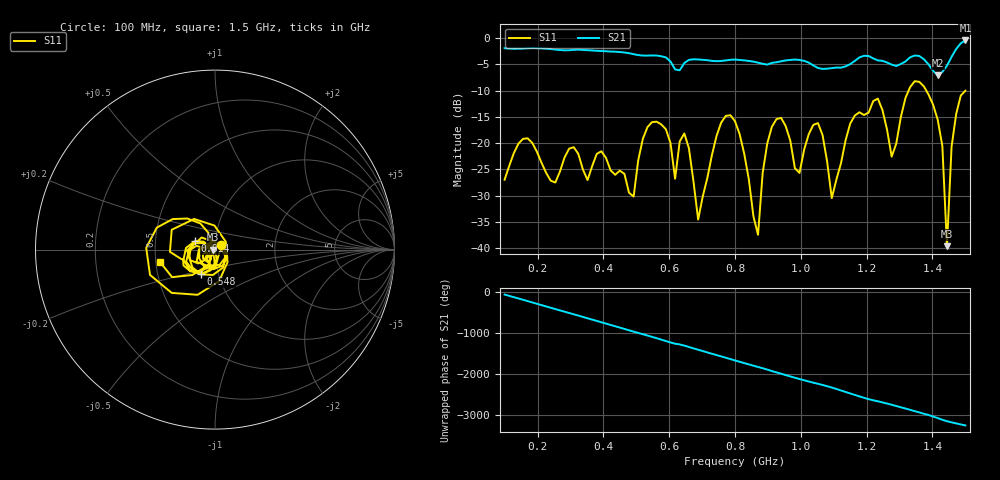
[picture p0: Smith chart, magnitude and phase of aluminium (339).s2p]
! NanoVNA-App
! Date: 2025-09-25 14:57:55
! Start: 100MHz Stop: 1,5GHz Points: 101
! S-Parameter data: F S11 S21 S12 S22
# Hz S RI R 50
!  Frequency  S11_Real  S11_Imag  S21_Real  S21_Imag  S12_Real  S12_Imag  S22_Real  S22_Imag
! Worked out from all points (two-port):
!   101 points, 100 MHz to 1.5 GHz, reference 50 ohm
!   highest |S21| = -0.45 dB at 1.5 GHz (marker M1); lowest = -7.1 dB at 1.416 GHz (marker M2)
!   |S21| within 3 dB of the highest: start of sweep to 575.6 MHz; 1.459 GHz to end of sweep (the widest 2 of 4)
!   lowest |S11| = -39.6 dB at 1.444 GHz (marker M3), VSWR 1.02, Z = 49 - j0.00106 ohm
!   |S11| at or under -10 dB: start of sweep to 1.327 GHz; 1.381 GHz to end of sweep
!   S12 and S22 are empty: the file has one direction only
!   S11 on the Smith chart (normalised r, x): 100 MHz: 1.07, +0.06; 548 MHz: 0.82, -0.23; 814 MHz: 0.79, +0.07; 1.5 GHz: 0.52, -0.08
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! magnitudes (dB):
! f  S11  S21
! 100 MHz  -27.0  -1.9
! 338 MHz  -25.0  -2.3
! 492 MHz  -30.2  -3.1
! 548 MHz  -16.0  -3.3
! 576 MHz  -16.4  -3.5
! 618 MHz  -26.8  -6.0
! 646 MHz  -18.2  -4.7
! 688 MHz  -34.6  -4.1
! 800 MHz  -15.8  -4.1
! 814 MHz  -18.3  -4.2
! 870 MHz  -37.5  -4.7
! 912 MHz  -16.9  -4.7
! 996 MHz  -25.7  -4.2
! 1.038 GHz  -16.5  -5.2
! 1.094 GHz  -30.5  -5.7
! 1.22 GHz  -12.0  -3.9
! 1.276 GHz  -22.6  -5.0
! 1.346 GHz  -8.2  -3.3
! 1.416 GHz  -15.6  -7.1
! 1.444 GHz  -39.6  -5.3
! 1.458 GHz  -20.7  -3.6
! 1.5 GHz  -10.0  -0.4
